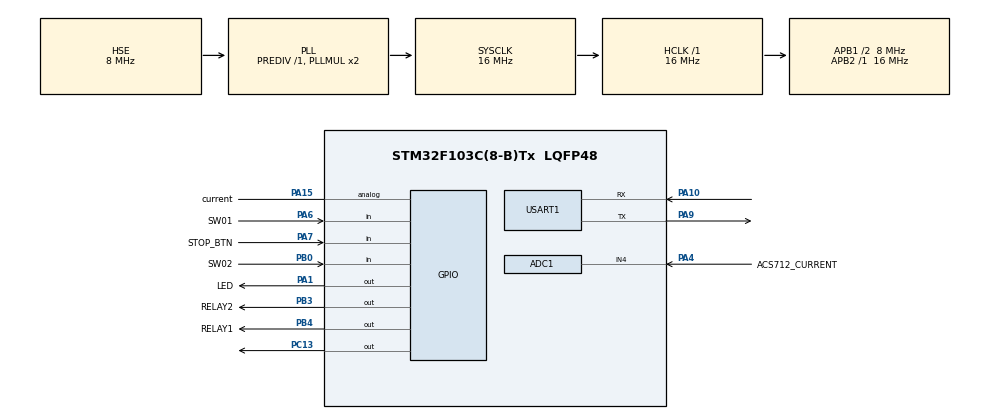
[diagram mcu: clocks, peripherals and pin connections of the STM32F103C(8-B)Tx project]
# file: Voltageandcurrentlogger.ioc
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ADC1.Channel-2\#ChannelRegularConversion=ADC_CHANNEL_4
ADC1.NbrOfConversion=1
ADC1.NbrOfConversionFlag=1
ADC1.Rank-2\#ChannelRegularConversion=1
ADC1.SamplingTime-2\#ChannelRegularConversion=ADC_SAMPLETIME_55CYCLES_5
ADC1.master=1
Mcu.Family=STM32F1
Mcu.Name=STM32F103C(8-B)Tx
Mcu.Package=LQFP48
NVIC.PriorityGroup=NVIC_PRIORITYGROUP_4
NVIC.TIM2_IRQn=true\:0\:0\:false\:false\:true\:true\:true
PA1.GPIO_Label=LED
PA1.Signal=GPIO_Output
PA10.Mode=Asynchronous
PA10.Signal=USART1_RX
PA13.Mode=Serial_Wire
PA13.Signal=SYS_JTMS-SWDIO
PA14.Mode=Serial_Wire
PA14.Signal=SYS_JTCK-SWCLK
PA15.GPIO_Label=current
PA15.Signal=GPIO_Analog
PA4.GPIO_Label=ACS712_CURRENT
PA4.Signal=ADCx_IN4
PA6.GPIO_Label=SW01
PA6.Signal=GPIO_Input
PA7.GPIO_Label=STOP_BTN
PA7.Signal=GPIO_Input
PA9.Mode=Asynchronous
PA9.Signal=USART1_TX
PB0.GPIO_Label=SW02
PB0.Signal=GPIO_Input
PB3.GPIO_Label=RELAY2
PB3.Signal=GPIO_Output
PB4.GPIO_Label=RELAY1
PB4.Signal=GPIO_Output
PC13-TAMPER-RTC.Signal=GPIO_Output
PD0-OSC_IN.Mode=HSE-External-Oscillator
PD0-OSC_IN.Signal=RCC_OSC_IN
PD1-OSC_OUT.Mode=HSE-External-Oscillator
PD1-OSC_OUT.Signal=RCC_OSC_OUT
ProjectManager.HeapSize=0x200
ProjectManager.StackSize=0x400
ProjectManager.TargetToolchain=STM32CubeIDE
RCC.AHBFreq_Value=16000000
RCC.APB1CLKDivider=RCC_HCLK_DIV2
RCC.APB1Freq_Value=8000000
RCC.APB1TimFreq_Value=16000000
RCC.APB2Freq_Value=16000000
RCC.APB2TimFreq_Value=16000000
RCC.HCLKFreq_Value=16000000
RCC.PLLSourceVirtual=RCC_PLLSOURCE_HSE
RCC.SYSCLKFreq_VALUE=16000000
RCC.SYSCLKSource=RCC_SYSCLKSOURCE_PLLCLK
RCC.USBFreq_Value=16000000
SH.ADCx_IN4.0=ADC1_IN4,IN4
TIM2.Period=1000-1
TIM2.Prescaler=16000-1
USART1.VirtualMode=VM_ASYNC
VP_TIM2_VS_ClockSourceINT.Mode=Internal
board=custom

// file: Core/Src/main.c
/* USER CODE BEGIN Header */
/**
  ******************************************************************************
  * @file           : main.c
  * @brief          : Main program body
  ******************************************************************************
  * @attention
  *
  * <h2><center>&copy; Copyright (c) 2020 STMicroelectronics.
  * All rights reserved.</center></h2>
  *
  * This software component is licensed by ST under BSD 3-Clause license,
  * the "License"; You may not use this file except in compliance with the
  * License. You may obtain a copy of the License at:
  *                        opensource.org/licenses/BSD-3-Clause
  *
  ******************************************************************************
  */
/* USER CODE END Header */

#include "main.h"
#include "adc.h"
#include "tim.h"
#include "usart.h"
#include "gpio.h"

/* USER CODE BEGIN Includes */
#include "stdbool.h"

char str[16];

int dly_on_time  = 3000;//ms
int dly_off_time = 3000;//ms

#define ACS712_CHANNEL 4
#define left  1
#define right 2
#define stop  3

#define left_dirction   1
#define right_dirction  2

uint8_t motor_dirction;
uint8_t motor_state;
uint8_t motor_state_old;

uint8_t left_dirction_old;
uint8_t right_dirction_old;

//----------- current sensor -------------------------------------
char buffer[290];
int sensitivity = 100;//100 for20A ,  66 for30A   , 185 for 5 A
int offsetVoltage = 1720;
float current=0.0;
float milivoltage=0.0;

//----------------------------------------------------------------

/* USER CODE END Includes */

/* USER CODE BEGIN PTD */

#include "stdio.h"

#ifdef __GNUC__
  #define PUTCHAR_PROTOTYPE int __io_putchar(int ch)
  #else
  #define PUTCHAR_PROTOTYPE int fputc(int ch,FILE *f)
  #endif

  PUTCHAR_PROTOTYPE
  {//                        "SALAM"       5 100
  HAL_UART_Transmit(&huart1,(uint8_t*)&ch,1,100);

    return ch;

  }

/* USER CODE END PTD */

/* USER CODE BEGIN PM */
  int read_adc1(uint8_t ch);
  void motor_fanction(uint8_t dir);
  void left_step(uint8_t num);
  void right_step(uint8_t num);
  void get_current_and_send();

  float get_val=0;

/* USER CODE END PM */

/* USER CODE BEGIN PV */

int sec=0;
bool left_set_counter_flag=false;
uint8_t left_occord_interrupt_counter=0;
bool left_occord_interrupt=false;

bool right_occord_interrupt=false;
bool right_set_counter_flag=false;
uint8_t right_occord_interrupt_counter=0;

bool    motor_run_occord_interrupt=false;
bool    motor_run_set_counter_flag=false;
uint8_t motor_run_occord_interrupt_counter=0;

  void HAL_TIM_PeriodElapsedCallback (TIM_HandleTypeDef *htim)
  {

  	if(htim->Instance==TIM2)//interrupt evry 1000ms
  	{

  		//--------------------------------------------------------------------------------------------
  		if(left_set_counter_flag)
  		{
  			    led_toggle;

				left_occord_interrupt_counter++;

				if((left_occord_interrupt_counter % 2 ) ==0)//if sec= 2,4,6
				{
					motor_fanction(stop);
				}
				else//if sec= 1,3,5 // first run
				{
					motor_fanction(left);
				}

				if(left_occord_interrupt_counter==6)//end of motor
				{
					sec=0;
					left_occord_interrupt_counter=0;
					left_set_counter_flag=false;
				}

  		 }

  		//--------------------------------------------- right fanction -------------------------

  		if(right_set_counter_flag)
  	    {
			   led_toggle;
				right_occord_interrupt_counter++;

				if((right_occord_interrupt_counter % 2 ) ==0)//if sec= 2,4,6
				{
					motor_fanction(stop);
				}
				else//if sec= 1,3,5 // first run
				{
					motor_fanction(right);
				}

				if(right_occord_interrupt_counter==6)//end of motor
				{
					sec=0;
					right_occord_interrupt_counter=0;
					right_set_counter_flag=false;
				}

		 }

  		//------------------------------------------------------------------------------------------------------

  		if(motor_run_set_counter_flag)
  		  		{
  		  			    led_toggle;

  		  			    motor_run_occord_interrupt_counter++;

  						if((motor_run_occord_interrupt_counter % 2 ) ==0)//if sec= 2,4,6
  						{
  							motor_fanction(right);
  						}
  						else//if sec= 1,3,5 // first run
  						{
  							motor_fanction(left);
  						}

  						if(motor_run_occord_interrupt_counter==12)//end of motor 10 operation
  						{

  							led_OFF;
  							motor_run_occord_interrupt_counter=0;
  							motor_run_set_counter_flag=false;
  						}

  		  		 }

  		//get_val=read_adc1(ACS712_CHANNEL);
  		//printf("%d\n",get_val);

  	}

  }

//  void HAL_GPIO_EXTI_Callback(uint16_t GPIO_Pin)
//  {
//    if(GPIO_Pin == GPIO_PIN_7)
//    {
//         /* Toggle LED  */
//    	led_OFF;
//    	motor_fanction(stop);
//    	sec=0;
//		left_occord_interrupt_counter=0;
//		left_set_counter_flag=false;
//		right_occord_interrupt_counter=0;
//		right_set_counter_flag=false;
//
//    }
//  }

/* USER CODE END PV */

void SystemClock_Config(void);

int main(void)
{

  /* MCU Configuration--------------------------------------------------------*/

  /* Reset of all peripherals, Initializes the Flash interface and the Systick. */
  HAL_Init();

  /* Configure the system clock */
  SystemClock_Config();

  /* Initialize all configured peripherals */
  MX_GPIO_Init();
  MX_USART1_UART_Init();
  MX_ADC1_Init();
  MX_TIM2_Init();
  /* USER CODE BEGIN 2 */

 HAL_TIM_Base_Start_IT(&htim2);

// relay1_on;
// relay2_on;
// HAL_Delay(500);
// relay1_off;
// relay2_off;

 offsetVoltage = read_adc1(ACS712_CHANNEL);;

  /* USER CODE END 2 */

  /* Infinite loop */
  /* USER CODE BEGIN WHILE */
  while (1)
  {

		if(!left_btn)
		{
			//------------ stop auto motor------------------------------------
			motor_fanction(stop);
			motor_run_occord_interrupt_counter=0;
			motor_run_set_counter_flag=false;
			//--------------------------------------------------

			led_ON;
			motor_fanction(left);

			while(!left_btn)
			{
				get_current_and_send();
			}
			motor_fanction(stop);
			led_OFF;
		}

		if(!right_btn)
		{
			//------------ stop auto motor------------------------------------
			motor_fanction(stop);
			motor_run_occord_interrupt_counter=0;
			motor_run_set_counter_flag=false;
			//--------------------------------------------------

			led_ON;
			motor_fanction(right);
			while(!right_btn)
			{
				get_current_and_send();
			}
			motor_fanction(stop);
			led_OFF;
		}

		if(!stop_btn){
			motor_run_set_counter_flag=true;
		}

		get_current_and_send();

//		switch(motor_state)
//		{
//
//		case left_dirction:
//			if(motor_state!=motor_state_old)
//			 {
//				left_set_counter_flag=true;
//
//			    motor_state_old=motor_state;
//			 }
//
//			break;
//
//		case right_dirction:
//			if(motor_state!=motor_state_old)
//			 {
//				right_set_counter_flag=true;
//
//			    motor_state_old=motor_state;
//			 }
//
//			break;
//		}

    /* USER CODE END WHILE */

  }
}

void SystemClock_Config(void)
{
  RCC_OscInitTypeDef RCC_OscInitStruct = {0};
  RCC_ClkInitTypeDef RCC_ClkInitStruct = {0};
  RCC_PeriphCLKInitTypeDef PeriphClkInit = {0};

  /** Initializes the CPU, AHB and APB busses clocks
  */
  RCC_OscInitStruct.OscillatorType = RCC_OSCILLATORTYPE_HSE;
  RCC_OscInitStruct.HSEState = RCC_HSE_ON;
  RCC_OscInitStruct.HSEPredivValue = RCC_HSE_PREDIV_DIV1;
  RCC_OscInitStruct.HSIState = RCC_HSI_ON;
  RCC_OscInitStruct.PLL.PLLState = RCC_PLL_ON;
  RCC_OscInitStruct.PLL.PLLSource = RCC_PLLSOURCE_HSE;
  RCC_OscInitStruct.PLL.PLLMUL = RCC_PLL_MUL2;
  if (HAL_RCC_OscConfig(&RCC_OscInitStruct) != HAL_OK)
  {
    Error_Handler();
  }
  /** Initializes the CPU, AHB and APB busses clocks
  */
  RCC_ClkInitStruct.ClockType = RCC_CLOCKTYPE_HCLK|RCC_CLOCKTYPE_SYSCLK
                              |RCC_CLOCKTYPE_PCLK1|RCC_CLOCKTYPE_PCLK2;
  RCC_ClkInitStruct.SYSCLKSource = RCC_SYSCLKSOURCE_PLLCLK;
  RCC_ClkInitStruct.AHBCLKDivider = RCC_SYSCLK_DIV1;
  RCC_ClkInitStruct.APB1CLKDivider = RCC_HCLK_DIV2;
  RCC_ClkInitStruct.APB2CLKDivider = RCC_HCLK_DIV1;

  if (HAL_RCC_ClockConfig(&RCC_ClkInitStruct, FLASH_LATENCY_0) != HAL_OK)
  {
    Error_Handler();
  }
  PeriphClkInit.PeriphClockSelection = RCC_PERIPHCLK_ADC;
  PeriphClkInit.AdcClockSelection = RCC_ADCPCLK2_DIV2;
  if (HAL_RCCEx_PeriphCLKConfig(&PeriphClkInit) != HAL_OK)
  {
    Error_Handler();
  }
}

/* USER CODE BEGIN 4 */

void get_current_and_send()
{
//    char buff[20];
//	int sensitivity = 66;
 	int adcValue= 0;
	int offsetVoltage = 2500;
	float adcVoltage = 0;
	float currentValue = 0;

//	for(int i=0 ; i<10 ; i++)
//	{
//		adcValue+=read_adc1(ACS712_CHANNEL);
//
//	}
//
//	adcValue=adcValue/10;

	adcValue=read_adc1(ACS712_CHANNEL);
	//printf("%d\n",adcValue);

	adcVoltage=(adcValue*4096.0)/3300;
	currentValue = ((adcVoltage - (float)offsetVoltage) / (float)sensitivity);

//	if(currentValue<0)currentValue*=(-1);

//	milivoltage= (float)(  (((float)adcValue) / (4096.0)) * 3300.0) ;
//	sensor1_current = (((float)milivoltage - (float)offsetVoltage) / (float)sensitivity);

//	sprintf(buff,"%4.2f",currentValue);
//	printf(buff);
//	printf("\n");
	printf("%04.2f\n",currentValue);
    HAL_Delay(5);

}

int read_adc1(uint8_t ch)
{

    int raw_val=0;

	if(ch==ACS712_CHANNEL)
	{

		hadc1.Init.NbrOfDiscConversion=2;
		HAL_ADC_Init(&hadc1);
		HAL_ADC_Start(&hadc1);
		 HAL_Delay(5);

		//while( HAL_ADC_PollForConversion(&hadc1,100)!=HAL_OK ){}

				if(HAL_ADC_PollForConversion(&hadc1,50)==HAL_OK)
				{
				raw_val=HAL_ADC_GetValue(&hadc1);
	//					sprintf(str,"%f",value);
	//					//HAL_UART_Transmit(&huart1,(uint8_t*)"value:\n",5,20000);
	//					HAL_UART_Transmit(&huart1,(uint8_t*)str,4,20000);
	//					HAL_UART_Transmit(&huart1,(uint8_t*)"\t",5,20000);
				//AL_Delay(10);

				}
		HAL_ADC_Stop(&hadc1);

	}

return raw_val;

}

void motor_fanction(uint8_t dir)
{

	//left relay 1

		if(dir==right)
		{
			relay1_off;
			relay1_off;
			relay1_off;

			relay2_on;

		}
		else if(dir==left)
		{

			relay2_off;
			relay2_off;
			relay2_off;

			relay1_on;

		}
		else if(dir==stop)
		{
			relay1_off;
			relay2_off;
		}

}

void left_step(uint8_t num)
{
	for(int i=0 ; i<num ; i++)
	{
	   motor_fanction(left);
	   HAL_Delay(dly_on_time);
	   motor_fanction(stop);
	   HAL_Delay(dly_off_time);
	}

}

void right_step(uint8_t num)
{
	for(int i=0 ; i<num ; i++)
	{
	   motor_fanction(right);
	   HAL_Delay(dly_on_time);
	   motor_fanction(stop);
	   HAL_Delay(dly_off_time);
	}

}

/* USER CODE END 4 */

void Error_Handler(void)
{
}

/************************ (C) COPYRIGHT STMicroelectronics *****END OF FILE****/
